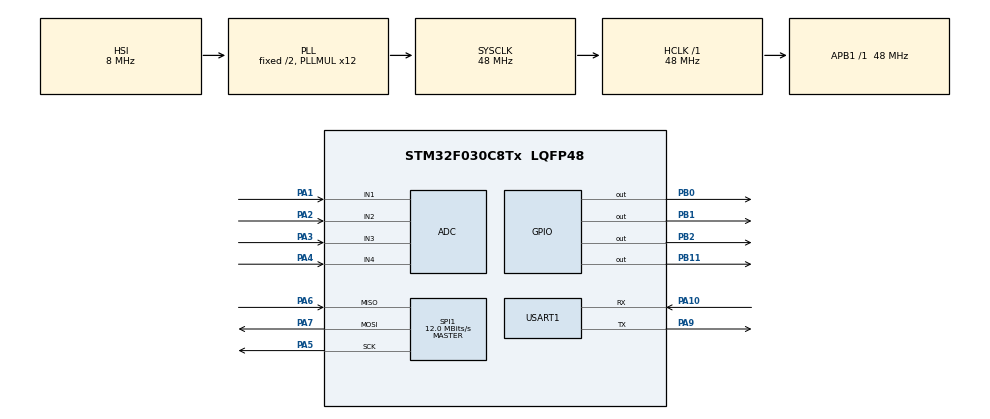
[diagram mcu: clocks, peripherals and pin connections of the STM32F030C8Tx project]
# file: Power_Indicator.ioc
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ADC.SamplingTime=ADC_SAMPLETIME_239CYCLES_5
Mcu.Family=STM32F0
Mcu.Name=STM32F030C8Tx
Mcu.Package=LQFP48
PA1.Mode=IN1
PA1.Signal=ADC_IN1
PA10.Mode=Asynchronous
PA10.Signal=USART1_RX
PA13.Mode=Serial_Wire
PA13.Signal=SYS_SWDIO
PA14.Mode=Serial_Wire
PA14.Signal=SYS_SWCLK
PA2.Mode=IN2
PA2.Signal=ADC_IN2
PA3.Mode=IN3
PA3.Signal=ADC_IN3
PA4.Mode=IN4
PA4.Signal=ADC_IN4
PA5.Mode=Full_Duplex_Master
PA5.Signal=SPI1_SCK
PA6.Mode=Full_Duplex_Master
PA6.Signal=SPI1_MISO
PA7.Mode=Full_Duplex_Master
PA7.Signal=SPI1_MOSI
PA9.Mode=Asynchronous
PA9.Signal=USART1_TX
PB0.GPIO_Speed=GPIO_SPEED_FREQ_HIGH
PB0.Signal=GPIO_Output
PB1.GPIO_Speed=GPIO_SPEED_FREQ_HIGH
PB1.Signal=GPIO_Output
PB11.GPIO_Speed=GPIO_SPEED_FREQ_HIGH
PB11.Signal=GPIO_Output
PB2.GPIO_Speed=GPIO_SPEED_FREQ_HIGH
PB2.Signal=GPIO_Output
ProjectManager.HeapSize=0x200
ProjectManager.StackSize=0x400
ProjectManager.TargetToolchain=STM32CubeIDE
RCC.AHBFreq_Value=48000000
RCC.APB1Freq_Value=48000000
RCC.APB1TimFreq_Value=48000000
RCC.HCLKFreq_Value=48000000
RCC.PLLMUL=RCC_PLL_MUL12
RCC.SYSCLKFreq_VALUE=48000000
RCC.SYSCLKSource=RCC_SYSCLKSOURCE_PLLCLK
SPI1.BaudRatePrescaler=SPI_BAUDRATEPRESCALER_4
SPI1.CalculateBaudRate=12.0 MBits/s
SPI1.DataSize=SPI_DATASIZE_8BIT
SPI1.Direction=SPI_DIRECTION_2LINES
SPI1.Mode=SPI_MODE_MASTER
SPI1.VirtualType=VM_MASTER
USART1.VirtualMode-Asynchronous=VM_ASYNC
VP_ADC_TempSens_Input.Mode=IN-TempSens
VP_ADC_Vref_Input.Mode=IN-Vrefint
board=custom

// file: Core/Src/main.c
/* USER CODE BEGIN Header */
/**
  ******************************************************************************
  * @file           : main.c
  * @brief          : Main program body
  ******************************************************************************
  * @attention
  *
  * <h2><center>&copy; Copyright (c) 2020 STMicroelectronics.
  * All rights reserved.</center></h2>
  *
  * This software component is licensed by ST under BSD 3-Clause license,
  * the "License"; You may not use this file except in compliance with the
  * License. You may obtain a copy of the License at:
  *                        opensource.org/licenses/BSD-3-Clause
  *
  ******************************************************************************
  */
/* USER CODE END Header */
#include "main.h"

/* USER CODE BEGIN Includes */
#include "spi_ili9341.h"
#include <stdbool.h>
#include <math.h>
/* USER CODE END Includes */

/* USER CODE BEGIN PD */
#define TEMPERATURE ADC_CHANNEL_2
#define CURRENT  ADC_CHANNEL_1
#define VOLTAGE ADC_CHANNEL_3
#define ADC_POINT (3.3/4096.0)
/* USER CODE END PD */

ADC_HandleTypeDef hadc;

SPI_HandleTypeDef hspi1;

UART_HandleTypeDef huart1;

/* USER CODE BEGIN PV */
void config_ext_channel_ADC(uint32_t channel, bool val);
uint32_t r_single_ext_channel_ADC(uint32_t channel);
/* USER CODE END PV */

void SystemClock_Config(void);
static void MX_GPIO_Init(void);
static void MX_ADC_Init(void);
static void MX_SPI1_Init(void);
static void MX_USART1_UART_Init(void);

int main(void)
{

  /* MCU Configuration--------------------------------------------------------*/

  /* Reset of all peripherals, Initializes the Flash interface and the Systick. */
  HAL_Init();

  /* Configure the system clock */
  SystemClock_Config();

  /* Initialize all configured peripherals */
  MX_GPIO_Init();
  MX_ADC_Init();
  MX_SPI1_Init();
  MX_USART1_UART_Init();
  /* USER CODE BEGIN 2 */
  TFT9341_ini(240, 320);
  TFT9341_Clear();

  float number=0;
  uint16_t digital_val;
  /* USER CODE END 2 */

  /* Infinite loop */
  /* USER CODE BEGIN WHILE */
  while (1)
  {

	//HAL_Delay();

	digital_val = r_single_ext_channel_ADC(VOLTAGE);
	number = ADC_POINT * (digital_val);
	number = (number * 20.8);
	TFT9341_Draw_U(number);

	digital_val = r_single_ext_channel_ADC(CURRENT);
	number = ((ADC_POINT * digital_val)/1.85)/0.386;
	TFT9341_Draw_I(number);

	digital_val = r_single_ext_channel_ADC(TEMPERATURE);
	if(digital_val>1682)
		number = (digital_val-1682)/93;
	else
		number = 0;
	TFT9341_Draw_Temp_Line((uint8_t )number);

    /* USER CODE END WHILE */

  }
}

void SystemClock_Config(void)
{
  RCC_OscInitTypeDef RCC_OscInitStruct = {0};
  RCC_ClkInitTypeDef RCC_ClkInitStruct = {0};
  RCC_PeriphCLKInitTypeDef PeriphClkInit = {0};

  /** Initializes the RCC Oscillators according to the specified parameters
  * in the RCC_OscInitTypeDef structure.
  */
  RCC_OscInitStruct.OscillatorType = RCC_OSCILLATORTYPE_HSI|RCC_OSCILLATORTYPE_HSI14;
  RCC_OscInitStruct.HSIState = RCC_HSI_ON;
  RCC_OscInitStruct.HSI14State = RCC_HSI14_ON;
  RCC_OscInitStruct.HSICalibrationValue = RCC_HSICALIBRATION_DEFAULT;
  RCC_OscInitStruct.HSI14CalibrationValue = 16;
  RCC_OscInitStruct.PLL.PLLState = RCC_PLL_ON;
  RCC_OscInitStruct.PLL.PLLSource = RCC_PLLSOURCE_HSI;
  RCC_OscInitStruct.PLL.PLLMUL = RCC_PLL_MUL12;
  RCC_OscInitStruct.PLL.PREDIV = RCC_PREDIV_DIV1;
  if (HAL_RCC_OscConfig(&RCC_OscInitStruct) != HAL_OK)
  {
    Error_Handler();
  }
  /** Initializes the CPU, AHB and APB buses clocks
  */
  RCC_ClkInitStruct.ClockType = RCC_CLOCKTYPE_HCLK|RCC_CLOCKTYPE_SYSCLK
                              |RCC_CLOCKTYPE_PCLK1;
  RCC_ClkInitStruct.SYSCLKSource = RCC_SYSCLKSOURCE_PLLCLK;
  RCC_ClkInitStruct.AHBCLKDivider = RCC_SYSCLK_DIV1;
  RCC_ClkInitStruct.APB1CLKDivider = RCC_HCLK_DIV1;

  if (HAL_RCC_ClockConfig(&RCC_ClkInitStruct, FLASH_LATENCY_1) != HAL_OK)
  {
    Error_Handler();
  }
  PeriphClkInit.PeriphClockSelection = RCC_PERIPHCLK_USART1;
  PeriphClkInit.Usart1ClockSelection = RCC_USART1CLKSOURCE_PCLK1;
  if (HAL_RCCEx_PeriphCLKConfig(&PeriphClkInit) != HAL_OK)
  {
    Error_Handler();
  }
}

static void MX_ADC_Init(void)
{

  ADC_ChannelConfTypeDef sConfig = {0};

  /** Configure the global features of the ADC (Clock, Resolution, Data Alignment and number of conversion)
  */
  hadc.Instance = ADC1;
  hadc.Init.ClockPrescaler = ADC_CLOCK_ASYNC_DIV1;
  hadc.Init.Resolution = ADC_RESOLUTION_12B;
  hadc.Init.DataAlign = ADC_DATAALIGN_RIGHT;
  hadc.Init.ScanConvMode = ADC_SCAN_DIRECTION_FORWARD;
  hadc.Init.EOCSelection = ADC_EOC_SINGLE_CONV;
  hadc.Init.LowPowerAutoWait = DISABLE;
  hadc.Init.LowPowerAutoPowerOff = DISABLE;
  hadc.Init.ContinuousConvMode = DISABLE;
  hadc.Init.DiscontinuousConvMode = DISABLE;
  hadc.Init.ExternalTrigConv = ADC_SOFTWARE_START;
  hadc.Init.ExternalTrigConvEdge = ADC_EXTERNALTRIGCONVEDGE_NONE;
  hadc.Init.DMAContinuousRequests = DISABLE;
  hadc.Init.Overrun = ADC_OVR_DATA_PRESERVED;
  if (HAL_ADC_Init(&hadc) != HAL_OK)
  {
    Error_Handler();
  }
  /** Configure for the selected ADC regular channel to be converted.
  */
  sConfig.Channel = ADC_CHANNEL_1;
  sConfig.Rank = ADC_RANK_CHANNEL_NUMBER;
  sConfig.SamplingTime = ADC_SAMPLETIME_239CYCLES_5;
  if (HAL_ADC_ConfigChannel(&hadc, &sConfig) != HAL_OK)
  {
    Error_Handler();
  }
  /** Configure for the selected ADC regular channel to be converted.
  */
  sConfig.Channel = ADC_CHANNEL_2;
  if (HAL_ADC_ConfigChannel(&hadc, &sConfig) != HAL_OK)
  {
    Error_Handler();
  }
  /** Configure for the selected ADC regular channel to be converted.
  */
  sConfig.Channel = ADC_CHANNEL_3;
  if (HAL_ADC_ConfigChannel(&hadc, &sConfig) != HAL_OK)
  {
    Error_Handler();
  }
  /** Configure for the selected ADC regular channel to be converted.
  */
  sConfig.Channel = ADC_CHANNEL_4;
  if (HAL_ADC_ConfigChannel(&hadc, &sConfig) != HAL_OK)
  {
    Error_Handler();
  }
  /** Configure for the selected ADC regular channel to be converted.
  */
  sConfig.Channel = ADC_CHANNEL_TEMPSENSOR;
  if (HAL_ADC_ConfigChannel(&hadc, &sConfig) != HAL_OK)
  {
    Error_Handler();
  }
  /** Configure for the selected ADC regular channel to be converted.
  */
  sConfig.Channel = ADC_CHANNEL_VREFINT;
  if (HAL_ADC_ConfigChannel(&hadc, &sConfig) != HAL_OK)
  {
    Error_Handler();
  }

}

static void MX_SPI1_Init(void)
{

  /* SPI1 parameter configuration*/
  hspi1.Instance = SPI1;
  hspi1.Init.Mode = SPI_MODE_MASTER;
  hspi1.Init.Direction = SPI_DIRECTION_2LINES;
  hspi1.Init.DataSize = SPI_DATASIZE_8BIT;
  hspi1.Init.CLKPolarity = SPI_POLARITY_LOW;
  hspi1.Init.CLKPhase = SPI_PHASE_1EDGE;
  hspi1.Init.NSS = SPI_NSS_SOFT;
  hspi1.Init.BaudRatePrescaler = SPI_BAUDRATEPRESCALER_4;
  hspi1.Init.FirstBit = SPI_FIRSTBIT_MSB;
  hspi1.Init.TIMode = SPI_TIMODE_DISABLE;
  hspi1.Init.CRCCalculation = SPI_CRCCALCULATION_DISABLE;
  hspi1.Init.CRCPolynomial = 7;
  hspi1.Init.CRCLength = SPI_CRC_LENGTH_DATASIZE;
  hspi1.Init.NSSPMode = SPI_NSS_PULSE_ENABLE;
  if (HAL_SPI_Init(&hspi1) != HAL_OK)
  {
    Error_Handler();
  }

}

static void MX_USART1_UART_Init(void)
{

  huart1.Instance = USART1;
  huart1.Init.BaudRate = 38400;
  huart1.Init.WordLength = UART_WORDLENGTH_8B;
  huart1.Init.StopBits = UART_STOPBITS_1;
  huart1.Init.Parity = UART_PARITY_NONE;
  huart1.Init.Mode = UART_MODE_TX_RX;
  huart1.Init.HwFlowCtl = UART_HWCONTROL_NONE;
  huart1.Init.OverSampling = UART_OVERSAMPLING_16;
  huart1.Init.OneBitSampling = UART_ONE_BIT_SAMPLE_DISABLE;
  huart1.AdvancedInit.AdvFeatureInit = UART_ADVFEATURE_NO_INIT;
  if (HAL_UART_Init(&huart1) != HAL_OK)
  {
    Error_Handler();
  }

}

static void MX_GPIO_Init(void)
{
  GPIO_InitTypeDef GPIO_InitStruct = {0};

  /* GPIO Ports Clock Enable */
  __HAL_RCC_GPIOA_CLK_ENABLE();
  __HAL_RCC_GPIOB_CLK_ENABLE();

  /*Configure GPIO pin Output Level */
  HAL_GPIO_WritePin(GPIOB, GPIO_PIN_0|GPIO_PIN_1|GPIO_PIN_2|GPIO_PIN_11, GPIO_PIN_RESET);

  /*Configure GPIO pins : PB0 PB1 PB2 PB11 */
  GPIO_InitStruct.Pin = GPIO_PIN_0|GPIO_PIN_1|GPIO_PIN_2|GPIO_PIN_11;
  GPIO_InitStruct.Mode = GPIO_MODE_OUTPUT_PP;
  GPIO_InitStruct.Pull = GPIO_NOPULL;
  GPIO_InitStruct.Speed = GPIO_SPEED_FREQ_HIGH;
  HAL_GPIO_Init(GPIOB, &GPIO_InitStruct);

}

/* USER CODE BEGIN 4 */
void config_int_channel_ADC(uint32_t channel, bool val)
{
  ADC_ChannelConfTypeDef sConfig;
  sConfig.Channel = channel;

  if(val == true)
  {
	if(channel == ADC_CHANNEL_VREFINT)
	{
	  ADC->CCR |= ADC_CCR_VREFEN;
	  hadc.Instance->CHSELR = (uint32_t)(ADC_CHSELR_CHSEL17);
	}
	else if(channel == ADC_CHANNEL_TEMPSENSOR)
	{
	  ADC->CCR |= ADC_CCR_TSEN;
	  hadc.Instance->CHSELR = (uint32_t)(ADC_CHSELR_CHSEL16);
	}

	sConfig.Rank          = ADC_RANK_CHANNEL_NUMBER;
	sConfig.SamplingTime  = ADC_SAMPLETIME_239CYCLES_5;
  }
  else if(val == false)
  {
	if(channel == ADC_CHANNEL_VREFINT)
	{
	  ADC->CCR &= ~ADC_CCR_VREFEN;
	  hadc.Instance->CHSELR = 0;
	}
	else if(channel == ADC_CHANNEL_TEMPSENSOR)
	{
	  ADC->CCR &= ~ADC_CCR_TSEN;
	  hadc.Instance->CHSELR = 0;
	}

	sConfig.Rank          = ADC_RANK_NONE;
	sConfig.SamplingTime  = ADC_SAMPLETIME_239CYCLES_5;
  }

  HAL_ADC_ConfigChannel(&hadc,&sConfig);
}

uint32_t r_single_ext_channel_ADC(uint32_t channel)
{
	  uint32_t digital_result;

	  config_int_channel_ADC(channel, true);

	  HAL_ADCEx_Calibration_Start(&hadc);

	  HAL_ADC_Start(&hadc);
	  HAL_ADC_PollForConversion(&hadc, 1000);
	  digital_result = HAL_ADC_GetValue(&hadc);
	  HAL_ADC_Stop(&hadc);

	  config_int_channel_ADC(channel, false);

	  return digital_result;
}
/* USER CODE END 4 */

void Error_Handler(void)
{
}

/************************ (C) COPYRIGHT STMicroelectronics *****END OF FILE****/
